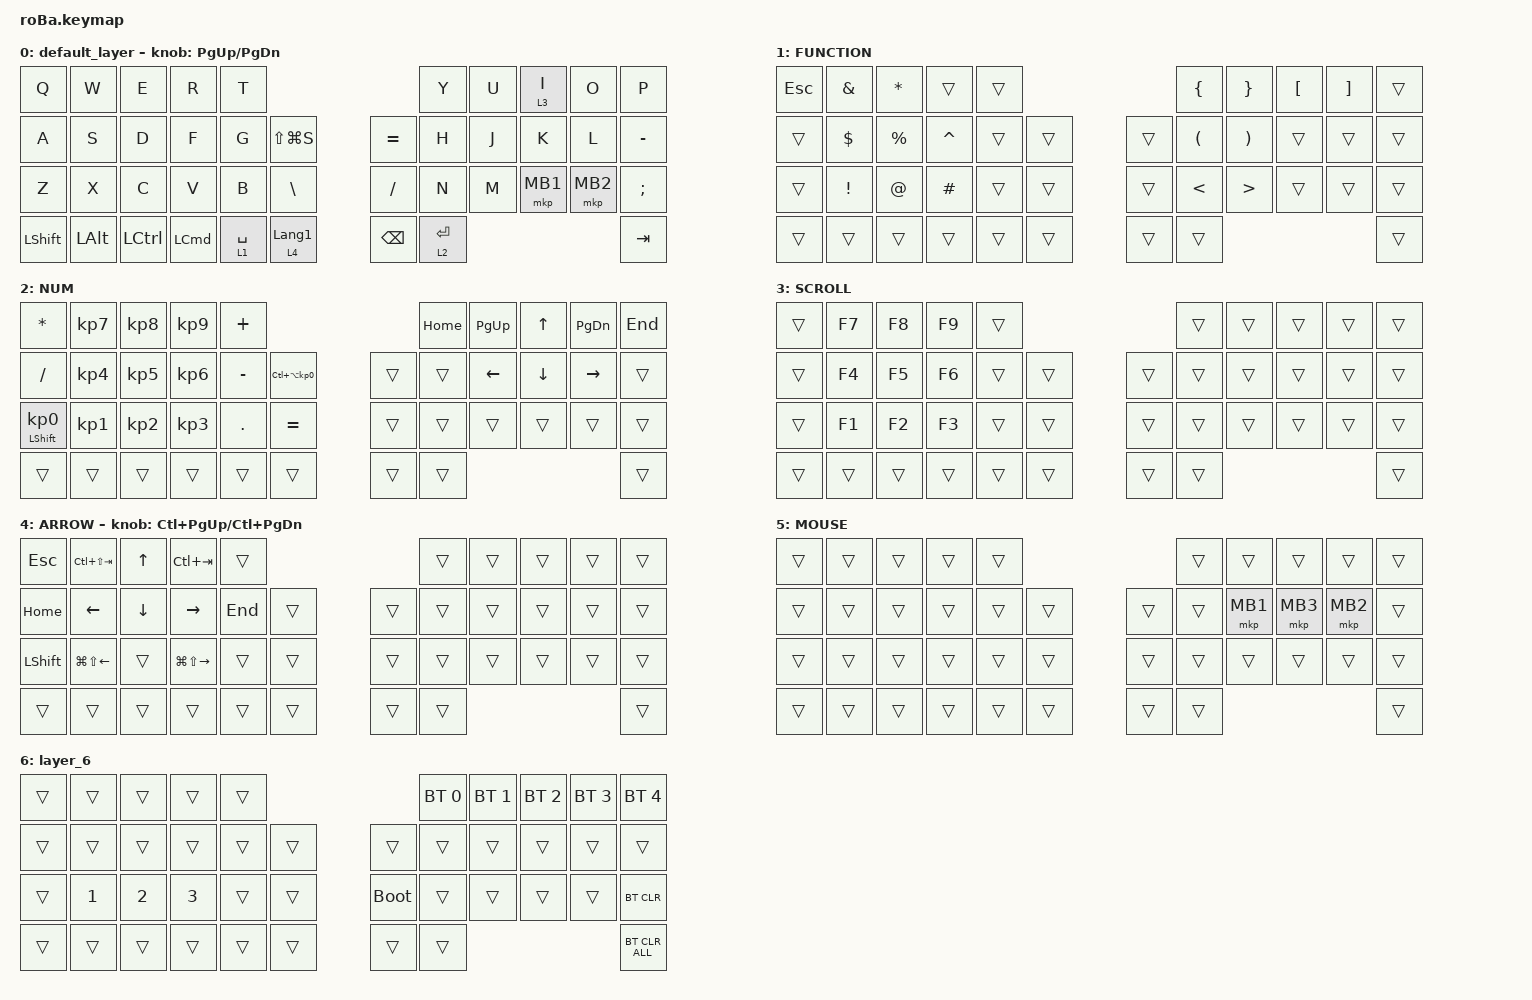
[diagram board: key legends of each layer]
#include <behaviors.dtsi>
#include <dt-bindings/zmk/bt.h>
#include <dt-bindings/zmk/keys.h>
#include <dt-bindings/zmk/pointing.h>

#define MOUSE 4
#define SCROLL 5
#define NUM 6

&mt {
    flavor = "balanced";
    quick-tap-ms = <0>;
};

/ {
    combos {
        compatible = "zmk,combos";

        tab {
            bindings = <&kp TAB>;
            key-positions = <11 12>;
        };

        shift_tab {
            bindings = <&kp LS(TAB)>;
            key-positions = <12 13>;
        };

        muhennkann {
            bindings = <&to_layer_0 INT_MUHENKAN>;
            key-positions = <11 10>;
        };

        double_quotation {
            bindings = <&kp DOUBLE_QUOTES>;
            key-positions = <20 21>;
        };

        eq {
            bindings = <&kp EQUAL>;
            key-positions = <24 25>;
        };
    };

    macros {
        to_layer_0: to_layer_0 {
            compatible = "zmk,behavior-macro-one-param";
            #binding-cells = <1>;
            bindings = <&to 0 &macro_param_1to1 &kp MACRO_PLACEHOLDER>;
            label = "TO_LAYER_0";
        };
    };

    behaviors {
        lt_to_layer_0: lt_to_layer_0 {
            compatible = "zmk,behavior-hold-tap";
            label = "LAYER_TAP_TO_0";
            bindings = <&mo>, <&to_layer_0>;

            #binding-cells = <2>;
            tapping-term-ms = <200>;
        };
    };

    keymap {
        compatible = "zmk,keymap";

        default_layer {
            bindings = <
&kp Q           &kp W         &kp E      &kp R             &kp T                                                        &kp Y        &kp U  &lt 3 I   &kp O     &kp P
&kp A           &kp S         &kp D      &kp F             &kp G        &kp LS(LG(S))                    &kp EQUAL      &kp H        &kp J  &kp K     &kp L     &kp MINUS
&kp Z           &kp X         &kp C      &kp V             &kp B        &kp BACKSLASH                    &kp SLASH      &kp N        &kp M  &mkp MB1  &mkp MB2  &kp SEMICOLON
&kp LEFT_SHIFT  &kp LEFT_ALT  &kp LCTRL  &kp LEFT_COMMAND  &lt 1 SPACE  &lt_to_layer_0 4 LANGUAGE_1      &kp BACKSPACE  &lt 2 ENTER                             &kp TAB
            >;

            sensor-bindings = <&inc_dec_kp PG_UP PAGE_DOWN>;
        };

        FUNCTION {
            bindings = <
&kp ESCAPE  &kp AMPERSAND    &kp ASTERISK  &trans     &trans                      &kp LEFT_BRACE        &kp RIGHT_BRACE        &kp LEFT_BRACKET  &kp RIGHT_BRACKET  &trans
&trans      &kp DOLLAR       &kp PERCENT   &kp CARET  &trans  &trans      &trans  &kp LEFT_PARENTHESIS  &kp RIGHT_PARENTHESIS  &trans            &trans             &trans
&trans      &kp EXCLAMATION  &kp AT_SIGN   &kp HASH   &trans  &trans      &trans  &kp LESS_THAN         &kp GREATER_THAN       &trans            &trans             &trans
&trans      &trans           &trans        &trans     &trans  &trans      &trans  &trans                                                                            &trans
            >;
        };

        NUM {
            bindings = <
&kp ASTERISK                &kp KP_NUMBER_7  &kp KP_NUMBER_8  &kp KP_NUMBER_9  &kp PLUS                                         &kp HOME  &kp PAGE_UP     &kp UP_ARROW    &kp PAGE_DOWN    &kp END
&kp SLASH                   &kp KP_NUMBER_4  &kp KP_NUMBER_5  &kp KP_NUMBER_6  &kp MINUS   &kp LC(LA(KP_NUMBER_0))      &trans  &trans    &kp LEFT_ARROW  &kp DOWN_ARROW  &kp RIGHT_ARROW  &trans
&mt LEFT_SHIFT KP_NUMBER_0  &kp KP_NUMBER_1  &kp KP_NUMBER_2  &kp KP_NUMBER_3  &kp PERIOD  &kp EQUAL                    &trans  &trans    &trans          &trans          &trans           &trans
&trans                      &trans           &trans           &trans           &trans      &trans                       &trans  &trans                                                     &trans
            >;
        };

        SCROLL {
            bindings = <
&trans  &kp F7  &kp F8  &kp F9  &trans                      &trans  &trans  &trans  &trans  &trans
&trans  &kp F4  &kp F5  &kp F6  &trans  &trans      &trans  &trans  &trans  &trans  &trans  &trans
&trans  &kp F1  &kp F2  &kp F3  &trans  &trans      &trans  &trans  &trans  &trans  &trans  &trans
&trans  &trans  &trans  &trans  &trans  &trans      &trans  &trans                          &trans
            >;
        };

        ARROW {
            bindings = <
&kp ESCAPE      &kp LC(LS(TAB))         &kp UP_ARROW    &kp LC(TAB)              &trans                       &trans  &trans  &trans  &trans  &trans
&kp HOME        &kp LEFT_ARROW          &kp DOWN_ARROW  &kp RIGHT_ARROW          &kp END  &trans      &trans  &trans  &trans  &trans  &trans  &trans
&kp LEFT_SHIFT  &kp LG(LS(LEFT_ARROW))  &trans          &kp LG(LS(RIGHT_ARROW))  &trans   &trans      &trans  &trans  &trans  &trans  &trans  &trans
&trans          &trans                  &trans          &trans                   &trans   &trans      &trans  &trans                          &trans
            >;

            sensor-bindings = <&inc_dec_kp LC(PAGE_UP) LC(PAGE_DOWN)>;
        };

        MOUSE {
            bindings = <
&trans  &trans  &trans  &trans  &trans                      &trans  &trans    &trans    &trans    &trans
&trans  &trans  &trans  &trans  &trans  &trans      &trans  &trans  &mkp MB1  &mkp MB3  &mkp MB2  &trans
&trans  &trans  &trans  &trans  &trans  &trans      &trans  &trans  &trans    &trans    &trans    &trans
&trans  &trans  &trans  &trans  &trans  &trans      &trans  &trans                                &trans
            >;
        };

        layer_6 {
            bindings = <
&trans  &trans        &trans        &trans        &trans                           &bt BT_SEL 0  &bt BT_SEL 1  &bt BT_SEL 2  &bt BT_SEL 3  &bt BT_SEL 4
&trans  &trans        &trans        &trans        &trans  &trans      &trans       &trans        &trans        &trans        &trans        &trans
&trans  &kp NUMBER_1  &kp NUMBER_2  &kp NUMBER_3  &trans  &trans      &bootloader  &trans        &trans        &trans        &trans        &bt BT_CLR
&trans  &trans        &trans        &trans        &trans  &trans      &trans       &trans                                                  &bt BT_CLR_ALL
            >;
        };
    };
};
